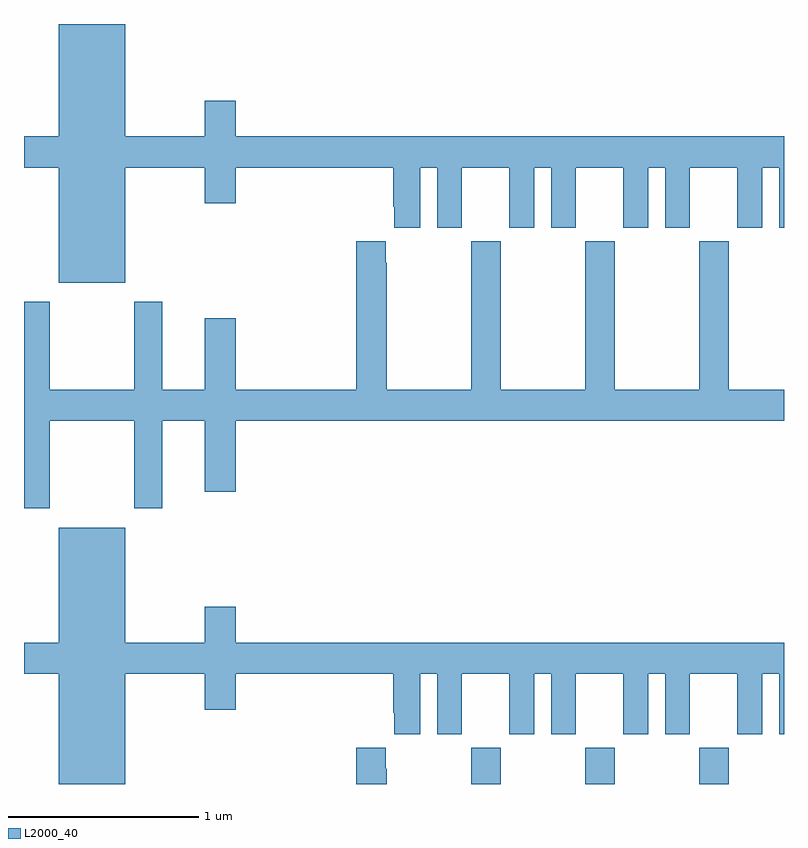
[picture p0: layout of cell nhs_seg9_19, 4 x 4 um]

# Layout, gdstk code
import gdstk
lib = gdstk.Library(unit=1e-6, precision=1e-09)
def R(c, l, rs):  # rectangles x0, y0, x1, y1
    for r in rs: c.add(gdstk.rectangle(r[:2], r[2:], *l))
def A(c, l, x, y, w, h, nx, ny, dx, dy):  # array of equal rectangles
    R(c, l, [(x+i*dx, y+j*dy, x+i*dx+w, y+j*dy+h) for i in range(nx) for j in range(ny)])
def P(c, l, *ps):  # polygons
    for p in ps: c.add(gdstk.Polygon(p, *l))
L2000_40 = (2000, 40)

nhs_seg9_19 = lib.new_cell('nhs_seg9_19')
A(nhs_seg9_19, L2000_40, 113.353, 1202.5, 0.155, 0.192, 3, 1, 0.6, 0)
P(nhs_seg9_19, L2000_40, [(111.532,1205.744),(111.95,1205.744),(111.95,1205.556),(112.114,1205.556),(112.114,1205.744),(112.943,1205.744),(112.943,1205.539),(112.949,1205.539),(112.949,1205.427),(113.086,1205.427),(113.086,1205.744),(113.174,1205.744),(113.174,1205.427),(113.305,1205.427),(113.305,1205.744),(113.555,1205.744),(113.555,1205.427),(113.686,1205.427),(113.686,1205.744),(113.774,1205.744),(113.774,1205.427),(113.905,1205.427),(113.905,1205.744),(114.155,1205.744),(114.155,1205.427),(114.286,1205.427),(114.286,1205.744),(114.374,1205.744),(114.374,1205.427),(114.505,1205.427),(114.505,1205.744),(114.755,1205.744),(114.755,1205.427),(114.886,1205.427),(114.886,1205.744),(114.974,1205.744),(114.974,1205.427),(115,1205.427),(115,1205.908),(112.114,1205.908),(112.114,1206.097),(111.95,1206.097),(111.95,1205.908),(111.532,1205.908),(111.532,1206.5),(111.182,1206.5),(111.182,1205.908),(111,1205.908),(111,1205.744),(111.182,1205.744),(111.182,1205.138),(111.532,1205.138)],
  [(111.135,1204.412),(111.58,1204.412),(111.58,1203.951),(111.727,1203.951),(111.727,1204.412),(111.95,1204.412),(111.95,1204.038),(112.114,1204.038),(112.114,1204.412),(115,1204.412),(115,1204.576),(114.708,1204.576),(114.708,1205.356),(114.553,1205.356),(114.553,1204.576),(114.108,1204.576),(114.108,1205.356),(113.953,1205.356),(113.953,1204.576),(113.508,1204.576),(113.508,1205.356),(113.353,1205.356),(113.353,1204.576),(112.908,1204.576),(112.908,1205.243),(112.903,1205.243),(112.903,1205.356),(112.748,1205.356),(112.748,1204.576),(112.114,1204.576),(112.114,1204.951),(111.95,1204.951),(111.95,1204.576),(111.727,1204.576),(111.727,1205.038),(111.58,1205.038),(111.58,1204.576),(111.135,1204.576),(111.135,1205.038),(111,1205.038),(111,1203.951),(111.135,1203.951)],
  [(111.532,1203.08),(111.95,1203.08),(111.95,1202.892),(112.114,1202.892),(112.114,1203.08),(112.943,1203.08),(112.943,1202.875),(112.949,1202.875),(112.949,1202.763),(113.086,1202.763),(113.086,1203.08),(113.174,1203.08),(113.174,1202.763),(113.305,1202.763),(113.305,1203.08),(113.555,1203.08),(113.555,1202.763),(113.686,1202.763),(113.686,1203.08),(113.774,1203.08),(113.774,1202.763),(113.905,1202.763),(113.905,1203.08),(114.155,1203.08),(114.155,1202.763),(114.286,1202.763),(114.286,1203.08),(114.374,1203.08),(114.374,1202.763),(114.505,1202.763),(114.505,1203.08),(114.755,1203.08),(114.755,1202.763),(114.886,1202.763),(114.886,1203.08),(114.974,1203.08),(114.974,1202.763),(115,1202.763),(115,1203.244),(112.114,1203.244),(112.114,1203.433),(111.95,1203.433),(111.95,1203.244),(111.532,1203.244),(111.532,1203.85),(111.182,1203.85),(111.182,1203.244),(111,1203.244),(111,1203.08),(111.182,1203.08),(111.182,1202.5),(111.532,1202.5)],
  [(112.908,1202.579),(112.903,1202.579),(112.903,1202.692),(112.748,1202.692),(112.748,1202.5),(112.908,1202.5)])

lib.write_gds('nhs_seg9_19.gds')
